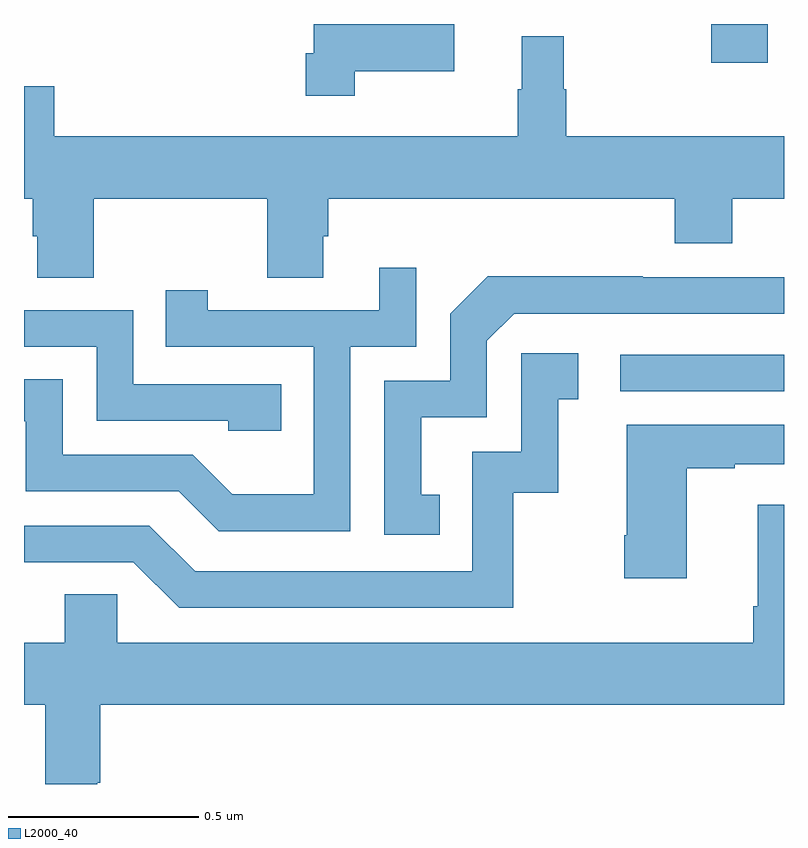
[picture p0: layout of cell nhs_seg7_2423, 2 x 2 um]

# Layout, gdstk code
import gdstk
lib = gdstk.Library(unit=1e-6, precision=1e-09)
def R(c, l, rs):  # rectangles x0, y0, x1, y1
    for r in rs: c.add(gdstk.rectangle(r[:2], r[2:], *l))
def P(c, l, *ps):  # polygons
    for p in ps: c.add(gdstk.Polygon(p, *l))
L2000_40 = (2000, 40)

nhs_seg7_2423 = lib.new_cell('nhs_seg7_2423')
R(nhs_seg7_2423, L2000_40, [(145.569,1076.034,146,1076.13), (145.809,1076.898,145.957,1077)])
P(nhs_seg7_2423, L2000_40, [(144.871,1076.876),(145.132,1076.876),(145.132,1077),(144.762,1077),(144.762,1076.923),(144.742,1076.923),(144.742,1076.811),(144.871,1076.811)],
  [(144.183,1076.54),(144.64,1076.54),(144.64,1076.332),(144.787,1076.332),(144.787,1076.442),(144.8,1076.442),(144.8,1076.54),(145.712,1076.54),(145.712,1076.423),(145.864,1076.423),(145.864,1076.54),(146,1076.54),(146,1076.704),(145.427,1076.704),(145.427,1076.828),(145.42,1076.828),(145.42,1076.968),(145.31,1076.968),(145.31,1076.828),(145.299,1076.828),(145.299,1076.704),(144.08,1076.704),(144.08,1076.836),(144,1076.836),(144,1076.54),(144.023,1076.54),(144.023,1076.442),(144.035,1076.442),(144.035,1076.332),(144.183,1076.332)],
  [(144.858,1076.151),(145.032,1076.151),(145.032,1076.359),(144.935,1076.359),(144.935,1076.247),(144.484,1076.247),(144.484,1076.299),(144.373,1076.299),(144.373,1076.151),(144.762,1076.151),(144.762,1075.762),(144.548,1075.762),(144.444,1075.866),(144.102,1075.866),(144.102,1076.065),(144,1076.065),(144,1075.955),(144.004,1075.955),(144.004,1075.77),(144.407,1075.77),(144.512,1075.665),(144.858,1075.665)],
  [(145.094,1075.761),(145.045,1075.761),(145.045,1075.965),(145.218,1075.965),(145.218,1076.166),(145.29,1076.238),(146,1076.238),(146,1076.334),(145.628,1076.334),(145.628,1076.336),(145.22,1076.336),(145.122,1076.238),(145.122,1076.061),(144.948,1076.061),(144.948,1075.656),(145.094,1075.656)],
  [(144.677,1076.052),(144.288,1076.052),(144.288,1076.247),(144,1076.247),(144,1076.151),(144.192,1076.151),(144.192,1075.956),(144.537,1075.956),(144.537,1075.929),(144.677,1075.929)],
  [(145.288,1075.767),(145.406,1075.767),(145.406,1076.013),(145.459,1076.013),(145.459,1076.134),(145.308,1076.134),(145.308,1075.875),(145.179,1075.875),(145.179,1075.56),(144.45,1075.56),(144.33,1075.68),(144,1075.68),(144,1075.584),(144.288,1075.584),(144.408,1075.464),(145.288,1075.464)],
  [(145.744,1075.831),(145.871,1075.831),(145.871,1075.841),(146,1075.841),(146,1075.945),(145.586,1075.945),(145.586,1075.654),(145.579,1075.654),(145.579,1075.542),(145.744,1075.542)],
  [(144.193,1075.003),(144.2,1075.003),(144.2,1075.208),(146,1075.208),(146,1075.735),(145.931,1075.735),(145.931,1075.468),(145.919,1075.468),(145.919,1075.372),(144.246,1075.372),(144.246,1075.499),(144.107,1075.499),(144.107,1075.372),(144,1075.372),(144,1075.208),(144.056,1075.208),(144.056,1075),(144.193,1075)])

lib.write_gds('nhs_seg7_2423.gds')
